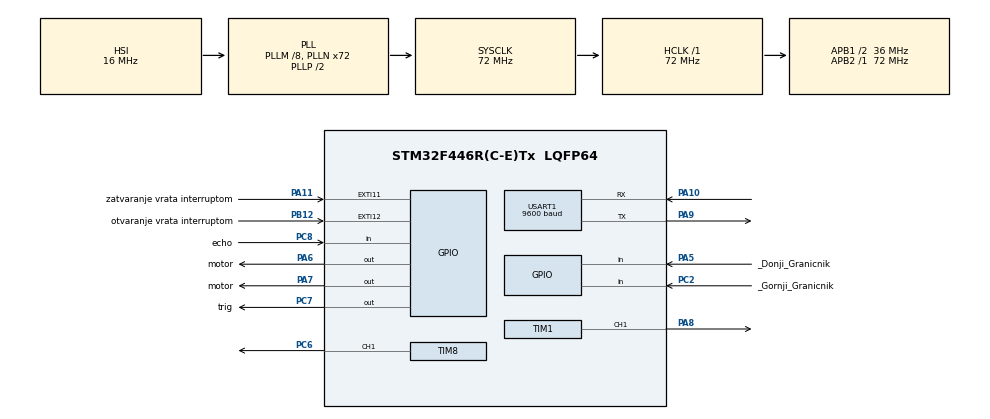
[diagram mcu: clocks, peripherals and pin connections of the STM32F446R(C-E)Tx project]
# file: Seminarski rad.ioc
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Mcu.Family=STM32F4
Mcu.Name=STM32F446R(C-E)Tx
Mcu.Package=LQFP64
NVIC.EXTI15_10_IRQn=true\:3\:0\:true\:false\:true\:true\:true\:true
NVIC.PriorityGroup=NVIC_PRIORITYGROUP_4
NVIC.USART1_IRQn=true\:4\:0\:true\:false\:true\:true\:true\:true
PA10.Mode=Asynchronous
PA10.Signal=USART1_RX
PA11.GPIO_Label=zatvaranje vrata interruptom
PA11.GPIO_PuPd=GPIO_PULLDOWN
PA11.Signal=GPXTI11
PA13.Mode=Serial_Wire
PA13.Signal=SYS_JTMS-SWDIO
PA14.Mode=Serial_Wire
PA14.Signal=SYS_JTCK-SWCLK
PA5.GPIO_Label=_Donji_Granicnik
PA5.GPIO_PuPd=GPIO_PULLDOWN
PA5.Signal=GPIO_Input
PA6.GPIO_Label=motor
PA6.Signal=GPIO_Output
PA7.GPIO_Label=motor
PA7.Signal=GPIO_Output
PA8.Signal=S_TIM1_CH1
PA9.Mode=Asynchronous
PA9.Signal=USART1_TX
PB12.GPIO_Label=otvaranje vrata interruptom
PB12.GPIO_PuPd=GPIO_PULLDOWN
PB12.Signal=GPXTI12
PC2.GPIO_Label=_Gornji_Granicnik 
PC2.GPIO_PuPd=GPIO_PULLDOWN
PC2.Signal=GPIO_Input
PC6.Signal=S_TIM8_CH1
PC7.GPIO_Label=trig
PC7.Signal=GPIO_Output
PC8.GPIO_Label=echo
PC8.Signal=GPIO_Input
ProjectManager.HeapSize=0x200
ProjectManager.StackSize=0x400
ProjectManager.TargetToolchain=STM32CubeIDE
RCC.AHBFreq_Value=72000000
RCC.APB1CLKDivider=RCC_HCLK_DIV2
RCC.APB1Freq_Value=36000000
RCC.APB1TimFreq_Value=72000000
RCC.APB2Freq_Value=72000000
RCC.APB2TimFreq_Value=72000000
RCC.CortexFreq_Value=72000000
RCC.HCLKFreq_Value=72000000
RCC.PLLM=8
RCC.PLLN=72
RCC.SYSCLKFreq_VALUE=72000000
RCC.SYSCLKSource=RCC_SYSCLKSOURCE_PLLCLK
RCC.USBFreq_Value=72000000
RCC.VCOOutputFreq_Value=144000000
SH.S_TIM1_CH1.0=TIM1_CH1,PWM Generation1 CH1
SH.S_TIM8_CH1.0=TIM8_CH1,PWM Generation1 CH1
TIM1.Channel-PWM\ Generation1\ CH1=TIM_CHANNEL_1
TIM1.Period=1000
TIM1.Prescaler=72-1
TIM2.Period=65535
TIM2.Prescaler=72-1
TIM4.Prescaler=72-1
TIM8.Channel-PWM\ Generation1\ CH1=TIM_CHANNEL_1
TIM8.Prescaler=72-1
USART1.BaudRate=9600
USART1.VirtualMode=VM_ASYNC
VP_TIM2_VS_ClockSourceINT.Mode=Internal
VP_TIM4_VS_ClockSourceINT.Mode=Internal
board=custom

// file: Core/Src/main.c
/* USER CODE BEGIN Header */
/**
  ******************************************************************************
  * @file           : main.c
  * @brief          : Main program body
  ******************************************************************************
  * @attention
  *
  * Copyright (c) 2025 STMicroelectronics.
  * All rights reserved.
  *
  * This software is licensed under terms that can be found in the LICENSE file
  * in the root directory of this software component.
  * If no LICENSE file comes with this software, it is provided AS-IS.
  *
  ******************************************************************************
  */
/* USER CODE END Header */
#include "main.h"
#include "tim.h"
#include "usart.h"
#include "gpio.h"

/* USER CODE BEGIN Includes */
#include "stdio.h"
#include "string.h"
/* USER CODE END Includes */

/* USER CODE BEGIN PD */
#define BUFFER_LEN 1
/* USER CODE END PD */

/* USER CODE BEGIN PV */

#define TRIG_PIN GPIO_PIN_7
#define TRIG_PORT GPIOC
#define ECHO_PIN GPIO_PIN_8
#define ECHO_PORT GPIOC

uint32_t pMillis;
uint32_t Value1 = 0;
uint32_t Value2 = 0;
uint16_t Distance  = 0;
uint32_t Difference;
uint8_t flag_vrata = 0;
uint8_t flag_btn = 0;
uint8_t flag_aut = 0;
uint8_t stanje_vozila = 0;
uint32_t startTime = 0;
uint8_t flag_stanje = 0;

uint8_t RX_BUFFER[BUFFER_LEN] = {0};
char msg[40];

/* USER CODE END PV */

void SystemClock_Config(void);

/* USER CODE BEGIN 0 */

void delay (uint16_t time)
{
	__HAL_TIM_SET_COUNTER(&htim4, 0);
	while (__HAL_TIM_GET_COUNTER (&htim4) < time);
}

void HAL_GPIO_EXTI_Callback(uint16_t GPIO_Pin)
{
	if (GPIO_Pin == GPIO_PIN_12)
	{
		flag_stanje = 1;
	}

	if (GPIO_Pin == GPIO_PIN_11)
	{
		flag_btn = 2;
	}
}

void otvaranje_vrata(void)
{

		HAL_GPIO_WritePin(GPIOA, GPIO_PIN_6, 0);
		HAL_GPIO_WritePin(GPIOA, GPIO_PIN_7, 1);
		__HAL_TIM_SET_COMPARE(&htim1, TIM_CHANNEL_1, 300);
		HAL_Delay(50);
		for(int i=150; i<=600; i=i+5)
		{
			__HAL_TIM_SET_COMPARE(&htim1, TIM_CHANNEL_1, i);
			HAL_Delay(10);
		}
		__HAL_TIM_SET_COMPARE(&htim1, TIM_CHANNEL_1, 600);
		HAL_Delay(100);
		flag_btn = 3;
}

void zatvaranje_vrata (void)
{
		HAL_GPIO_WritePin(GPIOA, GPIO_PIN_6, 1);
		HAL_GPIO_WritePin(GPIOA, GPIO_PIN_7, 0);
		__HAL_TIM_SET_COMPARE(&htim1, TIM_CHANNEL_1, 300);
		HAL_Delay(50);
		for(int i=150; i<=600; i=i+5)
		{
			__HAL_TIM_SET_COMPARE(&htim1, TIM_CHANNEL_1, i);
			HAL_Delay(10);
		}
		__HAL_TIM_SET_COMPARE(&htim1, TIM_CHANNEL_1, 600);
		HAL_Delay(100);
		flag_btn = 4;
}

void ultrazvucni(void)
{
	HAL_GPIO_WritePin(TRIG_PORT, TRIG_PIN, GPIO_PIN_SET);
	delay(10);
	HAL_GPIO_WritePin(TRIG_PORT, TRIG_PIN, GPIO_PIN_RESET);

	pMillis = HAL_GetTick();
	//wait for echo pin to go high
	while (!(HAL_GPIO_ReadPin (ECHO_PORT, ECHO_PIN)) && pMillis + 10 >  HAL_GetTick());
	Value1 = __HAL_TIM_GET_COUNTER (&htim2);

	pMillis = HAL_GetTick();
	// wait for the echo pin to go low
	while ((HAL_GPIO_ReadPin (ECHO_PORT, ECHO_PIN)) && pMillis + 50 > HAL_GetTick());
	Value2 = __HAL_TIM_GET_COUNTER (&htim2);

	if (Value2 > Value1)
			{
				Difference = Value2-Value1;
			}

		else if (Value1 > Value2)
			{
				Difference = (0xffff - Value1) + Value2;
			}

	Distance = ((float)Difference * 0.034)/2;
	HAL_Delay(50);
}

void buzzer(void) {

        if (Distance <= 35 && Distance > 25 && flag_vrata == 1)
        {
            __HAL_TIM_SET_AUTORELOAD(&htim8, 2000-1); //500 Hz
            __HAL_TIM_SET_COMPARE(&htim8, TIM_CHANNEL_1, 1000-1); //50% DutyCycle
            HAL_TIM_PWM_Start(&htim8, TIM_CHANNEL_1);
        }
        else if (Distance <= 25 && Distance > 15 && flag_vrata == 1)
        {
            __HAL_TIM_SET_AUTORELOAD(&htim8, 1000-1); //1 kHz
            __HAL_TIM_SET_COMPARE(&htim8, TIM_CHANNEL_1, 700-1); //70% DutyCycle
            HAL_TIM_PWM_Start(&htim8, TIM_CHANNEL_1);
        }
        else if (Distance <= 15 && flag_vrata == 1)
        {
            __HAL_TIM_SET_AUTORELOAD(&htim8, 500-1); //2 kHz
            __HAL_TIM_SET_COMPARE(&htim8, TIM_CHANNEL_1, 450-1); //90% DutyCycle
            HAL_TIM_PWM_Start(&htim8, TIM_CHANNEL_1);
        }
        else
        {
            HAL_TIM_PWM_Stop(&htim8, TIM_CHANNEL_1);
        }
}

void stanje()
{
    ultrazvucni();

            if (Distance < 20)
            {
                stanje_vozila = 1; // Vozilo je parkirano
            }
            else if (Distance > 50)
            {
                stanje_vozila = 2; // Vozilo je izvan garaže
            }
        flag_stanje=0;
        HAL_Delay(10);
        flag_btn=1;
}

void otvaranje_bluetooth(){
	if(RX_BUFFER[0] == '0')
	{
		flag_stanje = 1;
	}
	else if(RX_BUFFER[0] == '1')
	{
		flag_btn = 2;
	}
	else if (RX_BUFFER[0] == '2')
	{
		flag_aut = 1;
		flag_stanje = 1;
	}
}

void ispis_udaljenosti(){
	if(Distance <= 35 && Distance > 25 && flag_vrata==1)
	{
	  sprintf(msg, "Udaljenost velika:%dcm\r\n", Distance);
	  HAL_UART_Transmit_IT(&huart1, (uint8_t *)msg, strlen(msg));
	}
	else if(Distance <= 25 && Distance > 15 && flag_vrata==1)
	{
      sprintf(msg, "Udaljenost srednja:%dcm\r\n", Distance);
      HAL_UART_Transmit_IT(&huart1, (uint8_t *)msg, strlen(msg));
	}
	else if(Distance <= 15 && flag_vrata==1)
	{
	  sprintf(msg, "Udaljenost mala:%dcm\r\n", Distance);
	  HAL_UART_Transmit_IT(&huart1, (uint8_t *)msg, strlen(msg));
	}
}

void HAL_UART_RxCpltCallback(UART_HandleTypeDef *huart){
    if(huart->Instance == huart1.Instance){
      otvaranje_bluetooth();
      HAL_UART_Receive_IT(&huart1, RX_BUFFER, BUFFER_LEN);
    }
}

/* USER CODE END 0 */

int main(void)
{

  /* MCU Configuration--------------------------------------------------------*/

  /* Reset of all peripherals, Initializes the Flash interface and the Systick. */
  HAL_Init();

  /* Configure the system clock */
  SystemClock_Config();

  /* Initialize all configured peripherals */
  MX_GPIO_Init();
  MX_TIM1_Init();
  MX_TIM2_Init();
  MX_TIM8_Init();
  MX_TIM4_Init();
  MX_USART1_UART_Init();
  /* USER CODE BEGIN 2 */

  HAL_TIM_PWM_Start(&htim1, TIM_CHANNEL_1);
  HAL_TIM_Base_Start(&htim2);
  HAL_GPIO_WritePin(TRIG_PORT, TRIG_PIN, 0);
  HAL_TIM_Base_Start(&htim4);

  /* USER CODE END 2 */

  /* Infinite loop */
  /* USER CODE BEGIN WHILE */
  HAL_UART_Receive_IT(&huart1, RX_BUFFER, BUFFER_LEN);

  while (1)
  {
	  if(flag_stanje == 1)
	  {
		  stanje();
	  }

	  switch(flag_btn)
	  {
	  case(1):

		  if(HAL_GPIO_ReadPin(GPIOC, GPIO_PIN_2)==0 && HAL_GPIO_ReadPin(GPIOA, GPIO_PIN_5)==1)
		  	  	{
		  			  otvaranje_vrata();
		  			  flag_vrata = 1;
		  	  	}
		  else
		  {
			  flag_btn = 0;
		  }
	  	  break;

	  case(2):

		  if(HAL_GPIO_ReadPin(GPIOA, GPIO_PIN_5)==0 && HAL_GPIO_ReadPin(GPIOC, GPIO_PIN_2)==1)
		 	  	  	{
		 	  			  zatvaranje_vrata();
		 	  			  flag_vrata = 0;
		 	  	  	}
		  else
		  		  {
		  			  flag_btn = 0;
		  		  }
	  	  break;

	  case(3):
		  if(HAL_GPIO_ReadPin(GPIOC, GPIO_PIN_2)==1)
				  	{
				  	  	  __HAL_TIM_SET_COMPARE(&htim1, TIM_CHANNEL_1, 0); //stop PWM signal
			  			  if(stanje_vozila==2 && flag_aut==1)
			  			  {
			  				  if(Distance < 15)
			  				  {
			  					  flag_btn=2;
			  					  flag_aut=0;
			  				  }
			  			  }
			  			  else if(stanje_vozila==1 && flag_aut==1)
			  			  {
			  				  ultrazvucni();
			  				  if(Distance > 60)
			  				  {
			  					  HAL_Delay(2000);
			  					  flag_btn=2;
			  					  flag_aut=0;
			  				  }
			  			  }
				  	}
	  	  break;

	  case(4):
	  	  if(HAL_GPIO_ReadPin(GPIOA, GPIO_PIN_5)==1)
	  			 	{
	  			 	  	  __HAL_TIM_SET_COMPARE(&htim1, TIM_CHANNEL_1, 0);  //stop PWM signal
	  			 	}
	  	  break;
	  }

	 if (flag_vrata==1 && stanje_vozila==2)
	  {
		  ultrazvucni();
		  ispis_udaljenosti();
		  buzzer();
		  HAL_Delay(200);
	  }
	 else if(flag_vrata==0)
	 {
		 HAL_TIM_PWM_Stop(&htim8, TIM_CHANNEL_1);
	 }

    /* USER CODE END WHILE */

  }
}

void SystemClock_Config(void)
{
  RCC_OscInitTypeDef RCC_OscInitStruct = {0};
  RCC_ClkInitTypeDef RCC_ClkInitStruct = {0};

  /** Configure the main internal regulator output voltage
  */
  __HAL_RCC_PWR_CLK_ENABLE();
  __HAL_PWR_VOLTAGESCALING_CONFIG(PWR_REGULATOR_VOLTAGE_SCALE3);

  /** Initializes the RCC Oscillators according to the specified parameters
  * in the RCC_OscInitTypeDef structure.
  */
  RCC_OscInitStruct.OscillatorType = RCC_OSCILLATORTYPE_HSI;
  RCC_OscInitStruct.HSIState = RCC_HSI_ON;
  RCC_OscInitStruct.HSICalibrationValue = RCC_HSICALIBRATION_DEFAULT;
  RCC_OscInitStruct.PLL.PLLState = RCC_PLL_ON;
  RCC_OscInitStruct.PLL.PLLSource = RCC_PLLSOURCE_HSI;
  RCC_OscInitStruct.PLL.PLLM = 8;
  RCC_OscInitStruct.PLL.PLLN = 72;
  RCC_OscInitStruct.PLL.PLLP = RCC_PLLP_DIV2;
  RCC_OscInitStruct.PLL.PLLQ = 2;
  RCC_OscInitStruct.PLL.PLLR = 2;
  if (HAL_RCC_OscConfig(&RCC_OscInitStruct) != HAL_OK)
  {
    Error_Handler();
  }

  /** Initializes the CPU, AHB and APB buses clocks
  */
  RCC_ClkInitStruct.ClockType = RCC_CLOCKTYPE_HCLK|RCC_CLOCKTYPE_SYSCLK
                              |RCC_CLOCKTYPE_PCLK1|RCC_CLOCKTYPE_PCLK2;
  RCC_ClkInitStruct.SYSCLKSource = RCC_SYSCLKSOURCE_PLLCLK;
  RCC_ClkInitStruct.AHBCLKDivider = RCC_SYSCLK_DIV1;
  RCC_ClkInitStruct.APB1CLKDivider = RCC_HCLK_DIV2;
  RCC_ClkInitStruct.APB2CLKDivider = RCC_HCLK_DIV1;

  if (HAL_RCC_ClockConfig(&RCC_ClkInitStruct, FLASH_LATENCY_2) != HAL_OK)
  {
    Error_Handler();
  }
}

void Error_Handler(void)
{
  __disable_irq();
  while (1)
  {
  }
}
